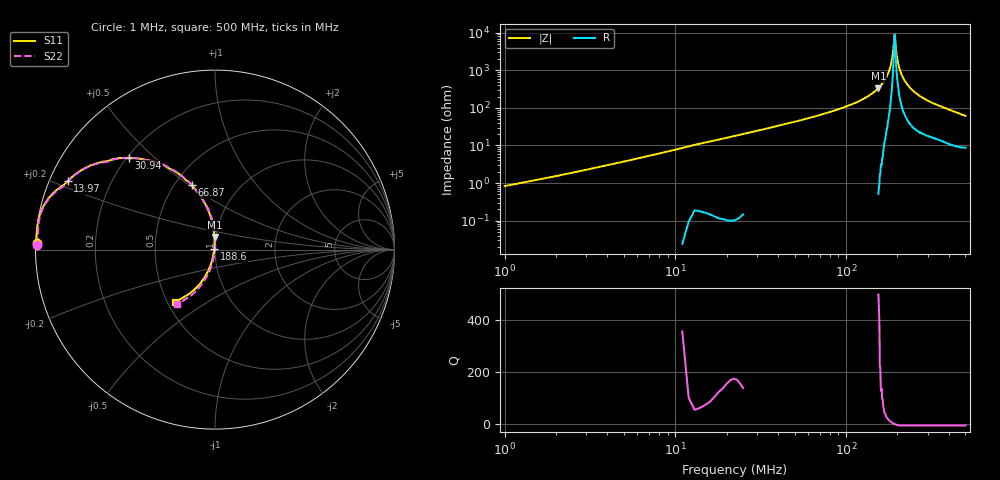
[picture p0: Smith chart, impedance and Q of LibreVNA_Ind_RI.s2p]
# GHZ RI RI R 50.000000000000
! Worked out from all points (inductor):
!   501 points, 1 MHz to 500 MHz, reference 50 ohm
!   read as one part in shunt: L = 119 nH near 2.996 MHz
!   highest Q = 143 at 154.7 MHz (marker M1), where L = 345 nH
!   self-resonance near 192.6 MHz
!   S11 on the Smith chart (normalised r, x): 1 MHz: 0.00, +0.02; 13.97 MHz: 0.05, +0.22; 30.94 MHz: 0.21, +0.42; 66.87 MHz: 0.61, +0.51; 188.6 MHz: 0.99, +0.01; 500 MHz: 0.55, -0.37
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0.001  -0.9944 0.0387  0.00292 0.0329  4.77e-05 0.0317  -0.9929 0.0283
0.00599  -0.9687 0.2162  0.0317 0.1746  0.0313 0.1743  -0.9684 0.2078
0.013974  -0.8199 0.3833  0.1745 0.364  0.1713 0.3636  -0.8244 0.3754
0.03094  -0.4795 0.5106  0.506 0.488  0.5033 0.4899  -0.4856 0.5103
0.066868  -0.1301 0.36  0.8478 0.3466  0.8477 0.3491  -0.1311 0.3634
0.084832  -0.0684 0.2768  0.9097 0.2707  0.91 0.272  -0.0671 0.2786
0.154692  -0.00233 0.0701  0.9892 0.0786  0.9892 0.0787  0.00125 0.0694
0.167666  -0.00183 0.0428  0.9933 0.0518  0.9931 0.0518  0.00223 0.0417
0.182636  -0.00295 0.0145  0.9964 0.0228  0.9962 0.0231  0.00131 0.0127
0.18563  -0.00342 0.009  0.9966 0.0172  0.9967 0.0173  0.000779 0.0072
0.187626  -0.00388 0.00543  0.997 0.0137  0.9967 0.0137  0.000478 0.00348
0.188624  -0.0041 0.00353  0.9969 0.0117  0.9967 0.0119  0.000255 0.00166
0.19062  -0.00448 7.83e-05  0.9969 0.00826  0.9969 0.00815  -0.000121 -0.00193
0.191618  -0.00465 -0.00158  0.997 0.00619  0.9969 0.00625  -0.000274 -0.00357
0.192616  -0.00492 -0.0033  0.9973 0.00454  0.9969 0.00431  -0.000371 -0.00537
0.19561  -0.00563 -0.00846  0.9974 -0.00106  0.9969 -0.00106  -0.00114 -0.0107
0.203594  -0.00763 -0.0216  0.9973 -0.0148  0.9968 -0.0145  -0.00309 -0.024
0.221558  -0.0135 -0.0499  0.9948 -0.0442  0.9948 -0.0444  -0.00874 -0.0529
0.2505  -0.0261 -0.0909  0.9881 -0.0867  0.9879 -0.0867  -0.0209 -0.0947
0.334332  -0.0792 -0.1843  0.9585 -0.1773  0.9589 -0.1787  -0.0718 -0.1906
0.417166  -0.1483 -0.2494  0.9306 -0.258  0.9325 -0.2601  -0.1373 -0.2588
0.5  -0.2224 -0.2923  0.8694 -0.3425  0.8708 -0.3438  -0.2108 -0.3036
